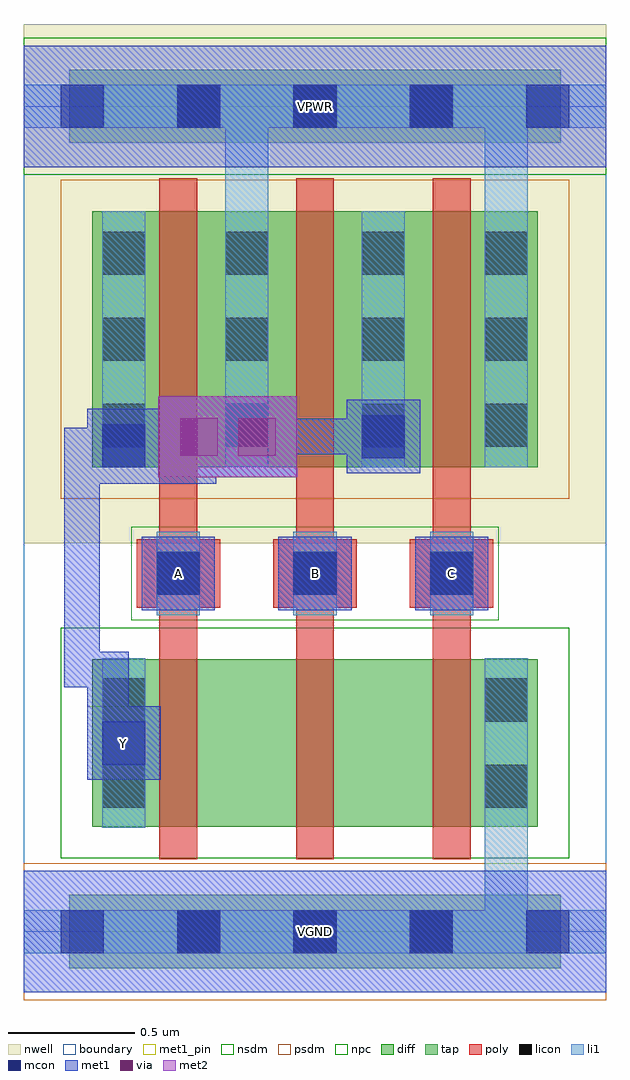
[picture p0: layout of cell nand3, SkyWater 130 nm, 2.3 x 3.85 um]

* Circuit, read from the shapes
.subckt nand3 A B C VGND VPWR Y
XM1 n1 A Y VGND sky130_fd_pr__nfet_01v8 w=0.66 l=0.15
XM2 n2 B n1 VGND sky130_fd_pr__nfet_01v8 w=0.66 l=0.15
XM3 VGND C n2 VGND sky130_fd_pr__nfet_01v8 w=0.66 l=0.15
XM4 VPWR A Y VPWR sky130_fd_pr__pfet_01v8 w=1.01 l=0.15
XM5 Y B VPWR VPWR sky130_fd_pr__pfet_01v8 w=1.01 l=0.15
XM6 VPWR C Y VPWR sky130_fd_pr__pfet_01v8 w=1.01 l=0.15
.ends

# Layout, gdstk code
import gdstk
lib = gdstk.Library(unit=1e-6, precision=1e-09)
def R(c, l, rs):  # rectangles x0, y0, x1, y1
    for r in rs: c.add(gdstk.rectangle(r[:2], r[2:], *l))
def A(c, l, x, y, w, h, nx, ny, dx, dy):  # array of equal rectangles
    R(c, l, [(x+i*dx, y+j*dy, x+i*dx+w, y+j*dy+h) for i in range(nx) for j in range(ny)])
nwell = (64, 20)
diff = (65, 20)
tap = (65, 44)
poly = (66, 20)
licon = (66, 44)
li1 = (67, 20)
mcon = (67, 44)
met1_pin = (68, 16)
met1 = (68, 20)
via = (68, 44)
met2 = (69, 20)
nsdm = (93, 44)
psdm = (94, 20)
npc = (95, 20)
boundary = (235, 4)

nand3 = lib.new_cell('nand3')
R(nand3, nwell, [(0,1.535,2.3,3.585)])
R(nand3, diff, [(0.27,0.415,2.03,1.075), (0.27,1.835,2.03,2.845)])
R(nand3, tap, [(0.18,-0.145,2.12,0.145), (0.18,3.115,2.12,3.405)])
A(nand3, poly, 0.535, 0.285, 0.15, 2.69, 3, 1, 0.54, 0)
A(nand3, poly, 0.445, 1.28, 0.33, 0.27, 3, 1, 0.54, 0)
A(nand3, licon, 0.605, -0.085, 0.17, 0.17, 3, 2, 0.46, 3.26)
A(nand3, licon, 0.525, 1.33, 0.17, 0.17, 3, 1, 0.54, 0)
A(nand3, licon, 0.31, 1.915, 0.17, 0.17, 1, 3, 0, 0.34)
A(nand3, licon, 0.795, 1.915, 0.17, 0.17, 1, 3, 0, 0.34)
A(nand3, licon, 1.335, 1.915, 0.17, 0.17, 1, 3, 0, 0.34)
A(nand3, licon, 1.82, 1.915, 0.17, 0.17, 1, 3, 0, 0.34)
R(nand3, licon, [(0.31,0.49,0.48,0.66), (1.82,0.49,1.99,0.66), (0.31,0.83,0.48,1), (1.82,0.83,1.99,1)])
A(nand3, li1, 0.525, 1.25, 0.17, 0.33, 3, 1, 0.54, 0)
R(nand3, li1, [(0,-0.085,2.3,0.085), (1.82,-0.085,1.99,1.08), (0.31,0.41,0.48,1.08), (1.82,0.41,1.99,1.08), (0.31,1.835,0.48,2.845), (0.795,1.835,0.965,2.845), (0.795,1.835,0.965,3.345), (1.335,1.835,1.505,2.845), (1.82,1.835,1.99,2.845), (1.82,1.835,1.99,3.345), (0,3.175,2.3,3.345)])
A(nand3, mcon, 0.145, -0.085, 0.17, 0.17, 5, 2, 0.46, 3.26)
A(nand3, mcon, 0.525, 1.33, 0.17, 0.17, 3, 1, 0.54, 0)
R(nand3, mcon, [(0.31,0.66,0.48,0.83), (0.31,1.835,0.48,2.005), (1.335,1.87,1.505,2.04)])
A(nand3, met1_pin, 0.465, 1.27, 0.29, 0.29, 3, 1, 0.54, 0)
R(nand3, met1_pin, [(0,-0.24,2.3,0.24), (0.25,0.6,0.54,0.89), (0,3.02,2.3,3.5)])
A(nand3, met1, 0.465, 1.27, 0.29, 0.29, 3, 1, 0.54, 0)
R(nand3, met1, [(0,-0.24,2.3,0.24), (0.25,0.6,0.54,0.89), (0.275,0.735,0.415,0.875), (0.275,0.735,0.415,1.105), (0.25,0.89,0.415,0.965), (0.25,0.89,0.3,0.965), (0.16,0.965,0.415,1.105), (0.16,0.965,0.3,1.795), (0.16,1.655,0.3,1.99), (0.16,1.655,0.3,1.91), (0.16,1.77,0.76,1.91), (0.62,1.77,0.76,2.025), (0.25,1.775,0.54,2.065), (0.54,1.775,0.62,2.025), (0.53,1.795,0.85,2.115), (0.76,1.795,1.08,2.115), (1.275,1.81,1.565,2.1), (0.16,1.85,0.465,1.99), (0.85,1.885,1.335,2.025), (1.195,1.885,1.49,2.025), (0,3.02,2.3,3.5)])
R(nand3, via, [(0.615,1.88,0.765,2.03), (0.845,1.88,0.995,2.03)])
R(nand3, met2, [(0.53,1.795,0.85,2.115), (0.76,1.795,1.08,2.115), (0.62,1.885,0.99,2.025)])
R(nand3, nsdm, [(0.145,0.29,2.155,1.2), (0,2.99,2.3,3.53)])
R(nand3, psdm, [(0,-0.27,2.3,0.27), (0.145,1.71,2.155,2.97)])
R(nand3, npc, [(0.425,1.23,1.875,1.6)])
R(nand3, boundary, [(0,0,2.3,3.26)])
nand3.add(gdstk.Label('A', (0.61,1.415), layer=68, texttype=5))
nand3.add(gdstk.Label('B', (1.15,1.415), layer=68, texttype=5))
nand3.add(gdstk.Label('C', (1.69,1.415), layer=68, texttype=5))
nand3.add(gdstk.Label('Y', (0.395,0.745), layer=68, texttype=5))
nand3.add(gdstk.Label('VPWR', (1.15,3.26), layer=68, texttype=5))
nand3.add(gdstk.Label('VGND', (1.15,0), layer=68, texttype=5))
nand3.add(gdstk.Label('A', (0.61,1.415), layer=68, texttype=16))
nand3.add(gdstk.Label('B', (1.15,1.415), layer=68, texttype=16))
nand3.add(gdstk.Label('C', (1.69,1.415), layer=68, texttype=16))
nand3.add(gdstk.Label('Y', (0.395,0.745), layer=68, texttype=16))
nand3.add(gdstk.Label('VPWR', (1.15,3.26), layer=68, texttype=16))
nand3.add(gdstk.Label('VGND', (1.15,0), layer=68, texttype=16))

lib.write_gds('nand3.gds')
